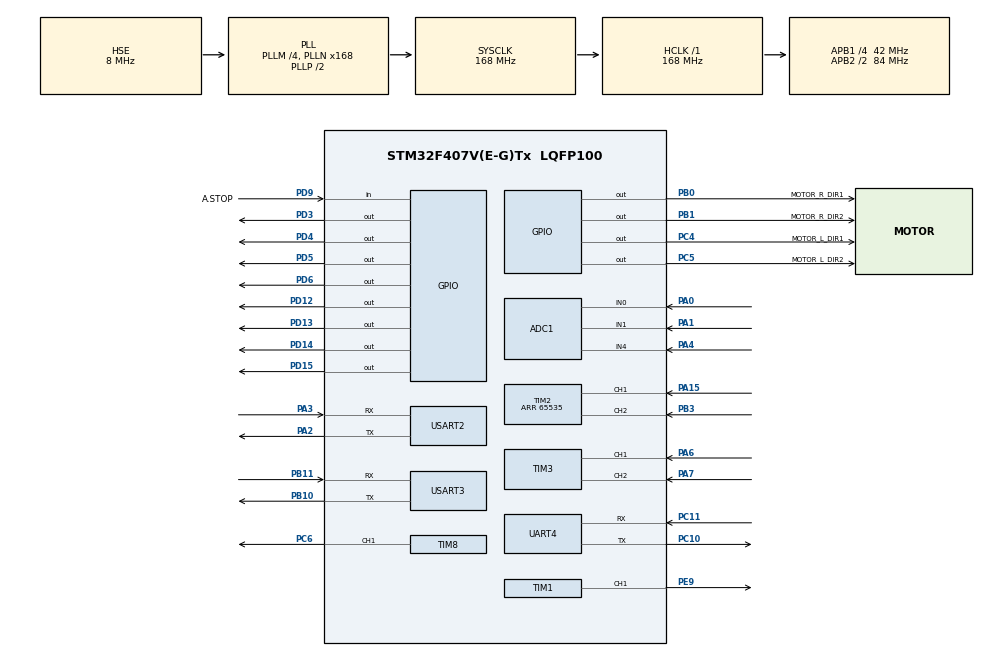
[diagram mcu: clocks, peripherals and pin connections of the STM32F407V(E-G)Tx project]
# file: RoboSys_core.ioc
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ADC1.Channel-6\#ChannelRegularConversion=ADC_CHANNEL_0
ADC1.Channel-7\#ChannelRegularConversion=ADC_CHANNEL_1
ADC1.Channel-8\#ChannelRegularConversion=ADC_CHANNEL_4
ADC1.ContinuousConvMode=DISABLE
ADC1.DMAContinuousRequests=ENABLE
ADC1.NbrOfConversion=3
ADC1.NbrOfConversionFlag=1
ADC1.Rank-6\#ChannelRegularConversion=1
ADC1.Rank-7\#ChannelRegularConversion=2
ADC1.Rank-8\#ChannelRegularConversion=3
ADC1.SamplingTime-6\#ChannelRegularConversion=ADC_SAMPLETIME_480CYCLES
ADC1.SamplingTime-7\#ChannelRegularConversion=ADC_SAMPLETIME_480CYCLES
ADC1.SamplingTime-8\#ChannelRegularConversion=ADC_SAMPLETIME_480CYCLES
ADC1.ScanConvMode=ENABLE
ADC1.master=1
Dma.ADC1.6.Direction=DMA_PERIPH_TO_MEMORY
Dma.ADC1.6.FIFOMode=DMA_FIFOMODE_DISABLE
Dma.ADC1.6.Instance=DMA2_Stream0
Dma.ADC1.6.MemDataAlignment=DMA_MDATAALIGN_HALFWORD
Dma.ADC1.6.MemInc=DMA_MINC_ENABLE
Dma.ADC1.6.Mode=DMA_CIRCULAR
Dma.ADC1.6.PeriphDataAlignment=DMA_PDATAALIGN_HALFWORD
Dma.ADC1.6.PeriphInc=DMA_PINC_DISABLE
Dma.ADC1.6.Priority=DMA_PRIORITY_MEDIUM
Dma.Request0=USART2_RX
Dma.Request1=USART2_TX
Dma.Request2=UART4_RX
Dma.Request3=UART4_TX
Dma.Request4=USART3_RX
Dma.Request5=USART3_TX
Dma.Request6=ADC1
Dma.UART4_RX.2.Direction=DMA_PERIPH_TO_MEMORY
Dma.UART4_RX.2.FIFOMode=DMA_FIFOMODE_DISABLE
Dma.UART4_RX.2.Instance=DMA1_Stream2
Dma.UART4_RX.2.MemDataAlignment=DMA_MDATAALIGN_BYTE
Dma.UART4_RX.2.MemInc=DMA_MINC_ENABLE
Dma.UART4_RX.2.Mode=DMA_CIRCULAR
Dma.UART4_RX.2.PeriphDataAlignment=DMA_PDATAALIGN_BYTE
Dma.UART4_RX.2.PeriphInc=DMA_PINC_DISABLE
Dma.UART4_RX.2.Priority=DMA_PRIORITY_HIGH
Dma.UART4_TX.3.Direction=DMA_MEMORY_TO_PERIPH
Dma.UART4_TX.3.FIFOMode=DMA_FIFOMODE_DISABLE
Dma.UART4_TX.3.Instance=DMA1_Stream4
Dma.UART4_TX.3.MemDataAlignment=DMA_MDATAALIGN_BYTE
Dma.UART4_TX.3.MemInc=DMA_MINC_ENABLE
Dma.UART4_TX.3.Mode=DMA_NORMAL
Dma.UART4_TX.3.PeriphDataAlignment=DMA_PDATAALIGN_BYTE
Dma.UART4_TX.3.PeriphInc=DMA_PINC_DISABLE
Dma.UART4_TX.3.Priority=DMA_PRIORITY_MEDIUM
Dma.USART2_RX.0.Direction=DMA_PERIPH_TO_MEMORY
Dma.USART2_RX.0.FIFOMode=DMA_FIFOMODE_DISABLE
Dma.USART2_RX.0.Instance=DMA1_Stream5
Dma.USART2_RX.0.MemDataAlignment=DMA_MDATAALIGN_BYTE
Dma.USART2_RX.0.MemInc=DMA_MINC_ENABLE
Dma.USART2_RX.0.Mode=DMA_CIRCULAR
Dma.USART2_RX.0.PeriphDataAlignment=DMA_PDATAALIGN_BYTE
Dma.USART2_RX.0.PeriphInc=DMA_PINC_DISABLE
Dma.USART2_RX.0.Priority=DMA_PRIORITY_HIGH
Dma.USART2_TX.1.Direction=DMA_MEMORY_TO_PERIPH
Dma.USART2_TX.1.FIFOMode=DMA_FIFOMODE_DISABLE
Dma.USART2_TX.1.Instance=DMA1_Stream6
Dma.USART2_TX.1.MemDataAlignment=DMA_MDATAALIGN_BYTE
Dma.USART2_TX.1.MemInc=DMA_MINC_ENABLE
Dma.USART2_TX.1.Mode=DMA_NORMAL
Dma.USART2_TX.1.PeriphDataAlignment=DMA_PDATAALIGN_BYTE
Dma.USART2_TX.1.PeriphInc=DMA_PINC_DISABLE
Dma.USART2_TX.1.Priority=DMA_PRIORITY_MEDIUM
Dma.USART3_RX.4.Direction=DMA_PERIPH_TO_MEMORY
Dma.USART3_RX.4.FIFOMode=DMA_FIFOMODE_DISABLE
Dma.USART3_RX.4.Instance=DMA1_Stream1
Dma.USART3_RX.4.MemDataAlignment=DMA_MDATAALIGN_BYTE
Dma.USART3_RX.4.MemInc=DMA_MINC_ENABLE
Dma.USART3_RX.4.Mode=DMA_CIRCULAR
Dma.USART3_RX.4.PeriphDataAlignment=DMA_PDATAALIGN_BYTE
Dma.USART3_RX.4.PeriphInc=DMA_PINC_DISABLE
Dma.USART3_RX.4.Priority=DMA_PRIORITY_HIGH
Dma.USART3_TX.5.Direction=DMA_MEMORY_TO_PERIPH
Dma.USART3_TX.5.FIFOMode=DMA_FIFOMODE_DISABLE
Dma.USART3_TX.5.Instance=DMA1_Stream3
Dma.USART3_TX.5.MemDataAlignment=DMA_MDATAALIGN_BYTE
Dma.USART3_TX.5.MemInc=DMA_MINC_ENABLE
Dma.USART3_TX.5.Mode=DMA_NORMAL
Dma.USART3_TX.5.PeriphDataAlignment=DMA_PDATAALIGN_BYTE
Dma.USART3_TX.5.PeriphInc=DMA_PINC_DISABLE
Dma.USART3_TX.5.Priority=DMA_PRIORITY_MEDIUM
Mcu.Family=STM32F4
Mcu.Name=STM32F407V(E-G)Tx
Mcu.Package=LQFP100
NVIC.DMA1_Stream1_IRQn=true\:0\:0\:false\:false\:true\:false\:true\:true
NVIC.DMA1_Stream2_IRQn=true\:0\:0\:false\:false\:true\:false\:true\:true
NVIC.DMA1_Stream3_IRQn=true\:0\:0\:false\:false\:true\:false\:true\:true
NVIC.DMA1_Stream4_IRQn=true\:0\:0\:false\:false\:true\:false\:true\:true
NVIC.DMA1_Stream5_IRQn=true\:0\:0\:false\:false\:true\:false\:true\:true
NVIC.DMA1_Stream6_IRQn=true\:0\:0\:false\:false\:true\:false\:true\:true
NVIC.DMA2_Stream0_IRQn=true\:0\:0\:false\:false\:true\:false\:true\:true
NVIC.PriorityGroup=NVIC_PRIORITYGROUP_0
NVIC.TIM6_DAC_IRQn=true\:0\:0\:false\:false\:true\:true\:true\:true
NVIC.UART4_IRQn=true\:0\:0\:false\:false\:true\:true\:true\:true
NVIC.USART2_IRQn=true\:0\:0\:false\:false\:true\:true\:true\:true
NVIC.USART3_IRQn=true\:0\:0\:false\:false\:true\:true\:true\:true
PA0-WKUP.Signal=ADCx_IN0
PA1.Signal=ADCx_IN1
PA15.GPIO_PuPd=GPIO_PULLUP
PA15.Signal=S_TIM2_CH1_ETR
PA2.Mode=Asynchronous
PA2.Signal=USART2_TX
PA3.Mode=Asynchronous
PA3.Signal=USART2_RX
PA4.Signal=ADCx_IN4
PA6.GPIO_PuPd=GPIO_PULLUP
PA6.Signal=S_TIM3_CH1
PA7.GPIO_PuPd=GPIO_PULLUP
PA7.Signal=S_TIM3_CH2
PB0.GPIO_Label=MOTOR_R_DIR1
PB0.GPIO_ModeDefaultOutputPP=GPIO_MODE_OUTPUT_OD
PB0.GPIO_PuPd=GPIO_PULLUP
PB0.Signal=GPIO_Output
PB1.GPIO_Label=MOTOR_R_DIR2
PB1.GPIO_ModeDefaultOutputPP=GPIO_MODE_OUTPUT_OD
PB1.GPIO_PuPd=GPIO_PULLUP
PB1.Signal=GPIO_Output
PB10.Mode=Asynchronous
PB10.Signal=USART3_TX
PB11.Mode=Asynchronous
PB11.Signal=USART3_RX
PB3.GPIO_PuPd=GPIO_PULLUP
PB3.Signal=S_TIM2_CH2
PC10.Mode=Asynchronous
PC10.Signal=UART4_TX
PC11.Mode=Asynchronous
PC11.Signal=UART4_RX
PC4.GPIO_Label=MOTOR_L_DIR1
PC4.GPIO_ModeDefaultOutputPP=GPIO_MODE_OUTPUT_OD
PC4.GPIO_PuPd=GPIO_PULLUP
PC4.Signal=GPIO_Output
PC5.GPIO_Label=MOTOR_L_DIR2
PC5.GPIO_ModeDefaultOutputPP=GPIO_MODE_OUTPUT_OD
PC5.GPIO_PuPd=GPIO_PULLUP
PC5.Signal=GPIO_Output
PC6.Signal=S_TIM8_CH1
PD12.GPIO_PuPd=GPIO_NOPULL
PD12.Signal=GPIO_Output
PD13.Signal=GPIO_Output
PD14.GPIO_PuPd=GPIO_NOPULL
PD14.Signal=GPIO_Output
PD15.GPIO_PuPd=GPIO_NOPULL
PD15.Signal=GPIO_Output
PD3.Signal=GPIO_Output
PD4.Signal=GPIO_Output
PD5.Signal=GPIO_Output
PD6.Signal=GPIO_Output
PD9.GPIO_Label=A.STOP
PD9.GPIO_PuPd=GPIO_PULLDOWN
PD9.Signal=GPIO_Input
PE9.Signal=S_TIM1_CH1
PH0-OSC_IN.Mode=HSE-External-Oscillator
PH0-OSC_IN.Signal=RCC_OSC_IN
PH1-OSC_OUT.Mode=HSE-External-Oscillator
PH1-OSC_OUT.Signal=RCC_OSC_OUT
ProjectManager.HeapSize=0x200
ProjectManager.StackSize=0x400
ProjectManager.TargetToolchain=STM32CubeIDE
RCC.48MHZClocksFreq_Value=48000000
RCC.AHBFreq_Value=168000000
RCC.APB1CLKDivider=RCC_HCLK_DIV4
RCC.APB1Freq_Value=42000000
RCC.APB1TimFreq_Value=84000000
RCC.APB2CLKDivider=RCC_HCLK_DIV2
RCC.APB2Freq_Value=84000000
RCC.APB2TimFreq_Value=168000000
RCC.CortexFreq_Value=168000000
RCC.HCLKFreq_Value=168000000
RCC.HSE_VALUE=8000000
RCC.HSI_VALUE=16000000
RCC.LSE_VALUE=32768
RCC.PLLM=4
RCC.PLLN=168
RCC.PLLQ=7
RCC.PLLSourceVirtual=RCC_PLLSOURCE_HSE
RCC.SYSCLKFreq_VALUE=168000000
RCC.SYSCLKSource=RCC_SYSCLKSOURCE_PLLCLK
RCC.VCOOutputFreq_Value=336000000
SH.ADCx_IN0.0=ADC1_IN0,IN0
SH.ADCx_IN1.0=ADC1_IN1,IN1
SH.ADCx_IN4.0=ADC1_IN4,IN4
SH.S_TIM1_CH1.0=TIM1_CH1,PWM Generation1 CH1
SH.S_TIM2_CH1_ETR.0=TIM2_CH1,Encoder_Interface
SH.S_TIM2_CH2.0=TIM2_CH2,Encoder_Interface
SH.S_TIM3_CH1.0=TIM3_CH1,Encoder_Interface
SH.S_TIM3_CH2.0=TIM3_CH2,Encoder_Interface
SH.S_TIM8_CH1.0=TIM8_CH1,PWM Generation1 CH1
TIM1.Channel-PWM\ Generation1\ CH1=TIM_CHANNEL_1
TIM1.Period=10499
TIM1.Prescaler=0
TIM2.EncoderMode=TIM_ENCODERMODE_TI12
TIM2.IC1Filter=0
TIM2.IC1Polarity=TIM_ICPOLARITY_FALLING
TIM2.IC2Filter=2
TIM2.IC2Polarity=TIM_ICPOLARITY_FALLING
TIM2.Period=65535
TIM3.EncoderMode=TIM_ENCODERMODE_TI12
TIM6.Period=99
TIM6.Prescaler=8399
TIM6.TIM_MasterOutputTrigger=TIM_TRGO_UPDATE
TIM8.Channel-PWM\ Generation1\ CH1=TIM_CHANNEL_1
TIM8.Period=10499
UART4.VirtualMode=Asynchronous
USART2.VirtualMode=VM_ASYNC
USART3.VirtualMode=VM_ASYNC
VP_TIM1_VS_ClockSourceINT.Mode=Internal
VP_TIM6_VS_ClockSourceINT.Mode=Enable_Timer
VP_TIM8_VS_ClockSourceINT.Mode=Internal
board=STM32F407G-DISC1

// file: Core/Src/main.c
/* USER CODE BEGIN Header */
/**
  ******************************************************************************
  * @file           : main.c
  * @brief          : Main program body
  ******************************************************************************
  * @attention
  *
  * Copyright (c) 2025 STMicroelectronics.
  * All rights reserved.
  *
  * This software is licensed under terms that can be found in the LICENSE file
  * in the root directory of this software component.
  * If no LICENSE file comes with this software, it is provided AS-IS.
  *
  ******************************************************************************
  */
/* USER CODE END Header */
#include "main.h"

/* USER CODE BEGIN Includes */
#include "relay.h"
#include "motor.h"
#include "stdlib.h"
#include "string.h"
#include "stdio.h"
#include <UartComm.h>

/* USER CODE END Includes */

/* USER CODE BEGIN PD */
#define PPR 1600
#define PI 3.1415926
#define buffSize 10
#define trimSize 3

/* USER CODE END PD */

ADC_HandleTypeDef hadc1;
DMA_HandleTypeDef hdma_adc1;

TIM_HandleTypeDef htim1;
TIM_HandleTypeDef htim2;
TIM_HandleTypeDef htim3;
TIM_HandleTypeDef htim6;
TIM_HandleTypeDef htim8;

UART_HandleTypeDef huart4;
UART_HandleTypeDef huart2;
UART_HandleTypeDef huart3;
DMA_HandleTypeDef hdma_uart4_rx;
DMA_HandleTypeDef hdma_uart4_tx;
DMA_HandleTypeDef hdma_usart2_rx;
DMA_HandleTypeDef hdma_usart2_tx;
DMA_HandleTypeDef hdma_usart3_rx;
DMA_HandleTypeDef hdma_usart3_tx;

/* USER CODE BEGIN PV */

// ****** TIM2 -> Left encoder, TIM3-> right encoder, TIM6-> 10MS timer
// ****** HER 10ms de encoder okuması yapılır.
// ************* ENCODER DEĞİŞKENLERİ ***************
volatile uint16_t enc_new_L;
volatile uint16_t old_cnt_L = 0;

volatile uint16_t enc_new_R;
volatile uint16_t old_cnt_R = 0;

volatile int16_t dL = 0;
volatile int16_t dR = 0;

volatile float wL=0;
volatile float wR=0;
// *************** MOTOR DEĞİŞKENLERİ*********************
Motor_t motor_L , motor_R;
Motor_Status_t mL_status, mR_status;

uint16_t ramp_time_ms = 1000;
volatile float motor_r_duty= 0; // 0-1 mi 0-1000 mi
volatile float motor_l_duty= 0;
// *******************UART DEĞİŞKENLERİ*******************

uint32_t last_telemetry_time = 0;
volatile UartComm_t uart2_ros;
volatile UartComm_t uart3_relay;
volatile UartComm_t uart4_adc;

uint8_t cmd_index = 0;

// ADC DEĞİŞKENLERİ

volatile uint16_t adc_raw[3];

static uint16_t ma_buffer_ch0[buffSize];
static uint16_t ma_buffer_ch1[buffSize];
static uint16_t ma_buffer_ch4[buffSize];
static float cleanVal_ch0=0;
static float cleanVal_ch1=0;
static float cleanVal_ch4=0;
volatile uint8_t adc_idx = 0;
uint16_t meanVal = 0;
uint16_t sum = 0;
float A_per_mv = 0.0125;
float A0 = 0;
float A1 = 0;
float A2 = 0;
/* USER CODE END PV */

void SystemClock_Config(void);
static void MX_GPIO_Init(void);
static void MX_DMA_Init(void);
static void MX_TIM2_Init(void);
static void MX_TIM6_Init(void);
static void MX_TIM3_Init(void);
static void MX_TIM1_Init(void);
static void MX_TIM8_Init(void);
static void MX_USART2_UART_Init(void);
static void MX_UART4_Init(void);
static void MX_USART3_UART_Init(void);
static void MX_ADC1_Init(void);
/* USER CODE BEGIN PFP */
void Motor_ParseCommands(char *cmd);
void Uart_SendEncoder(void);
void Uart_SendAnalog(void);
void uart_send_string(UART_HandleTypeDef *huart, const char* str);
uint16_t trimmed_mean_filter(volatile uint16_t *adcBuffer);

/* USER CODE END PFP */

int main(void)
{

  /* MCU Configuration--------------------------------------------------------*/

  /* Reset of all peripherals, Initializes the Flash interface and the Systick. */
  HAL_Init();

  /* Configure the system clock */
  SystemClock_Config();

  /* Initialize all configured peripherals */
  MX_GPIO_Init();
  MX_DMA_Init();
  MX_TIM2_Init();
  MX_TIM6_Init();
  MX_TIM3_Init();
  MX_TIM1_Init();
  MX_TIM8_Init();
  MX_USART2_UART_Init();
  MX_UART4_Init();
  MX_USART3_UART_Init();
  MX_ADC1_Init();
  /* USER CODE BEGIN 2 */

Motor_Init(&motor_R, &htim1, TIM_CHANNEL_1, GPIOC, GPIO_PIN_0, GPIO_PIN_1);
Motor_Init(&motor_L, &htim8, TIM_CHANNEL_1, GPIOB, GPIO_PIN_4, GPIO_PIN_5);
Relay_Init();

Uart_Init(&uart2_ros, &huart2, &hdma_usart2_rx);
Uart_Init(&uart3_relay, &huart3, &hdma_usart3_rx);
Uart_Init(&uart4_adc, &huart4, &hdma_uart4_rx);

HAL_ADC_Start_DMA(&hadc1, (uint32_t*)adc_raw, 3);

Motor_Start(&motor_R);
Motor_Start(&motor_L);

HAL_TIM_Encoder_Start(&htim2, TIM_CHANNEL_ALL);
HAL_TIM_Encoder_Start(&htim3, TIM_CHANNEL_ALL);
HAL_TIM_Base_Start_IT(&htim6);

  /* USER CODE END 2 */

  /* Infinite loop */
  while (1)
  {

    /* USER CODE BEGIN 3 */
	  // UART2 Motor komutlarını gönderiyor
	  if(uart2_ros.rx_ready)
	  {
		  uart2_ros.rx_ready = 0;
		  Uart_TrimRxBuffer(&uart2_ros);
		  Motor_ParseCommands((char*)uart2_ros.rx_buff);
		  Uart_ResetRxBuffer(&uart2_ros);
	  }
	  // UART3 RÖLE komutları gönderiyor
	  if (uart3_relay.rx_ready)
	  {
	      uart3_relay.rx_ready = 0;
	      Uart_TrimRxBuffer(&uart3_relay);
	      Relay_ProcessCommand(uart3_relay.rx_buff);
	      Uart_ResetRxBuffer(&uart3_relay);
	  }
	  // UART4 ADC verileri gönderiyor
	  if (uart4_adc.tx_ready)
	  {
		  cleanVal_ch0 = 2.944*(trimmed_mean_filter(ma_buffer_ch0))/4095.0; // AKÜ AKIM
  		  cleanVal_ch1 = 2.944*(trimmed_mean_filter(ma_buffer_ch1))/4095.0; // ŞARJ AKIM
  		  cleanVal_ch4 = trimmed_mean_filter(ma_buffer_ch4); 				// AKÜ VOLTAJ

  		  A0 = (cleanVal_ch0-2.5)/A_per_mv;
  		  A1 = (cleanVal_ch1-2.5)/A_per_mv;
  		  A2 = cleanVal_ch4*3.3/4095.0;
	  	  Uart_SendAnalog();
	  	  uart4_adc.tx_ready = 0;
  	 }

	  if ((HAL_GetTick() - last_telemetry_time)>=10)
	  {
		  last_telemetry_time = HAL_GetTick();
		  Uart_SendEncoder();
	  }

  }
  /* USER CODE END 3 */
}

void SystemClock_Config(void)
{
  RCC_OscInitTypeDef RCC_OscInitStruct = {0};
  RCC_ClkInitTypeDef RCC_ClkInitStruct = {0};

  /** Configure the main internal regulator output voltage
  */
  __HAL_RCC_PWR_CLK_ENABLE();
  __HAL_PWR_VOLTAGESCALING_CONFIG(PWR_REGULATOR_VOLTAGE_SCALE1);

  /** Initializes the RCC Oscillators according to the specified parameters
  * in the RCC_OscInitTypeDef structure.
  */
  RCC_OscInitStruct.OscillatorType = RCC_OSCILLATORTYPE_HSE;
  RCC_OscInitStruct.HSEState = RCC_HSE_ON;
  RCC_OscInitStruct.PLL.PLLState = RCC_PLL_ON;
  RCC_OscInitStruct.PLL.PLLSource = RCC_PLLSOURCE_HSE;
  RCC_OscInitStruct.PLL.PLLM = 4;
  RCC_OscInitStruct.PLL.PLLN = 168;
  RCC_OscInitStruct.PLL.PLLP = RCC_PLLP_DIV2;
  RCC_OscInitStruct.PLL.PLLQ = 7;
  if (HAL_RCC_OscConfig(&RCC_OscInitStruct) != HAL_OK)
  {
    Error_Handler();
  }

  /** Initializes the CPU, AHB and APB buses clocks
  */
  RCC_ClkInitStruct.ClockType = RCC_CLOCKTYPE_HCLK|RCC_CLOCKTYPE_SYSCLK
                              |RCC_CLOCKTYPE_PCLK1|RCC_CLOCKTYPE_PCLK2;
  RCC_ClkInitStruct.SYSCLKSource = RCC_SYSCLKSOURCE_PLLCLK;
  RCC_ClkInitStruct.AHBCLKDivider = RCC_SYSCLK_DIV1;
  RCC_ClkInitStruct.APB1CLKDivider = RCC_HCLK_DIV4;
  RCC_ClkInitStruct.APB2CLKDivider = RCC_HCLK_DIV2;

  if (HAL_RCC_ClockConfig(&RCC_ClkInitStruct, FLASH_LATENCY_5) != HAL_OK)
  {
    Error_Handler();
  }
}

static void MX_ADC1_Init(void)
{

  ADC_ChannelConfTypeDef sConfig = {0};

  /** Configure the global features of the ADC (Clock, Resolution, Data Alignment and number of conversion)
  */
  hadc1.Instance = ADC1;
  hadc1.Init.ClockPrescaler = ADC_CLOCK_SYNC_PCLK_DIV4;
  hadc1.Init.Resolution = ADC_RESOLUTION_12B;
  hadc1.Init.ScanConvMode = ENABLE;
  hadc1.Init.ContinuousConvMode = DISABLE;
  hadc1.Init.DiscontinuousConvMode = DISABLE;
  hadc1.Init.ExternalTrigConvEdge = ADC_EXTERNALTRIGCONVEDGE_NONE;
  hadc1.Init.ExternalTrigConv = ADC_SOFTWARE_START;
  hadc1.Init.DataAlign = ADC_DATAALIGN_RIGHT;
  hadc1.Init.NbrOfConversion = 3;
  hadc1.Init.DMAContinuousRequests = ENABLE;
  hadc1.Init.EOCSelection = ADC_EOC_SINGLE_CONV;
  if (HAL_ADC_Init(&hadc1) != HAL_OK)
  {
    Error_Handler();
  }

  /** Configure for the selected ADC regular channel its corresponding rank in the sequencer and its sample time.
  */
  sConfig.Channel = ADC_CHANNEL_0;
  sConfig.Rank = 1;
  sConfig.SamplingTime = ADC_SAMPLETIME_480CYCLES;
  if (HAL_ADC_ConfigChannel(&hadc1, &sConfig) != HAL_OK)
  {
    Error_Handler();
  }

  /** Configure for the selected ADC regular channel its corresponding rank in the sequencer and its sample time.
  */
  sConfig.Channel = ADC_CHANNEL_1;
  sConfig.Rank = 2;
  if (HAL_ADC_ConfigChannel(&hadc1, &sConfig) != HAL_OK)
  {
    Error_Handler();
  }

  /** Configure for the selected ADC regular channel its corresponding rank in the sequencer and its sample time.
  */
  sConfig.Channel = ADC_CHANNEL_4;
  sConfig.Rank = 3;
  if (HAL_ADC_ConfigChannel(&hadc1, &sConfig) != HAL_OK)
  {
    Error_Handler();
  }

}

static void MX_TIM1_Init(void)
{

  TIM_ClockConfigTypeDef sClockSourceConfig = {0};
  TIM_MasterConfigTypeDef sMasterConfig = {0};
  TIM_OC_InitTypeDef sConfigOC = {0};
  TIM_BreakDeadTimeConfigTypeDef sBreakDeadTimeConfig = {0};

  htim1.Instance = TIM1;
  htim1.Init.Prescaler = 0;
  htim1.Init.CounterMode = TIM_COUNTERMODE_UP;
  htim1.Init.Period = 10499;
  htim1.Init.ClockDivision = TIM_CLOCKDIVISION_DIV1;
  htim1.Init.RepetitionCounter = 0;
  htim1.Init.AutoReloadPreload = TIM_AUTORELOAD_PRELOAD_DISABLE;
  if (HAL_TIM_Base_Init(&htim1) != HAL_OK)
  {
    Error_Handler();
  }
  sClockSourceConfig.ClockSource = TIM_CLOCKSOURCE_INTERNAL;
  if (HAL_TIM_ConfigClockSource(&htim1, &sClockSourceConfig) != HAL_OK)
  {
    Error_Handler();
  }
  if (HAL_TIM_PWM_Init(&htim1) != HAL_OK)
  {
    Error_Handler();
  }
  sMasterConfig.MasterOutputTrigger = TIM_TRGO_RESET;
  sMasterConfig.MasterSlaveMode = TIM_MASTERSLAVEMODE_DISABLE;
  if (HAL_TIMEx_MasterConfigSynchronization(&htim1, &sMasterConfig) != HAL_OK)
  {
    Error_Handler();
  }
  sConfigOC.OCMode = TIM_OCMODE_PWM1;
  sConfigOC.Pulse = 0;
  sConfigOC.OCPolarity = TIM_OCPOLARITY_HIGH;
  sConfigOC.OCNPolarity = TIM_OCNPOLARITY_HIGH;
  sConfigOC.OCFastMode = TIM_OCFAST_DISABLE;
  sConfigOC.OCIdleState = TIM_OCIDLESTATE_RESET;
  sConfigOC.OCNIdleState = TIM_OCNIDLESTATE_RESET;
  if (HAL_TIM_PWM_ConfigChannel(&htim1, &sConfigOC, TIM_CHANNEL_1) != HAL_OK)
  {
    Error_Handler();
  }
  sBreakDeadTimeConfig.OffStateRunMode = TIM_OSSR_DISABLE;
  sBreakDeadTimeConfig.OffStateIDLEMode = TIM_OSSI_DISABLE;
  sBreakDeadTimeConfig.LockLevel = TIM_LOCKLEVEL_OFF;
  sBreakDeadTimeConfig.DeadTime = 0;
  sBreakDeadTimeConfig.BreakState = TIM_BREAK_DISABLE;
  sBreakDeadTimeConfig.BreakPolarity = TIM_BREAKPOLARITY_HIGH;
  sBreakDeadTimeConfig.AutomaticOutput = TIM_AUTOMATICOUTPUT_DISABLE;
  if (HAL_TIMEx_ConfigBreakDeadTime(&htim1, &sBreakDeadTimeConfig) != HAL_OK)
  {
    Error_Handler();
  }
  HAL_TIM_MspPostInit(&htim1);

}

static void MX_TIM2_Init(void)
{

  TIM_Encoder_InitTypeDef sConfig = {0};
  TIM_MasterConfigTypeDef sMasterConfig = {0};

  htim2.Instance = TIM2;
  htim2.Init.Prescaler = 0;
  htim2.Init.CounterMode = TIM_COUNTERMODE_UP;
  htim2.Init.Period = 65535;
  htim2.Init.ClockDivision = TIM_CLOCKDIVISION_DIV1;
  htim2.Init.AutoReloadPreload = TIM_AUTORELOAD_PRELOAD_DISABLE;
  sConfig.EncoderMode = TIM_ENCODERMODE_TI12;
  sConfig.IC1Polarity = TIM_ICPOLARITY_FALLING;
  sConfig.IC1Selection = TIM_ICSELECTION_DIRECTTI;
  sConfig.IC1Prescaler = TIM_ICPSC_DIV1;
  sConfig.IC1Filter = 0;
  sConfig.IC2Polarity = TIM_ICPOLARITY_FALLING;
  sConfig.IC2Selection = TIM_ICSELECTION_DIRECTTI;
  sConfig.IC2Prescaler = TIM_ICPSC_DIV1;
  sConfig.IC2Filter = 2;
  if (HAL_TIM_Encoder_Init(&htim2, &sConfig) != HAL_OK)
  {
    Error_Handler();
  }
  sMasterConfig.MasterOutputTrigger = TIM_TRGO_RESET;
  sMasterConfig.MasterSlaveMode = TIM_MASTERSLAVEMODE_DISABLE;
  if (HAL_TIMEx_MasterConfigSynchronization(&htim2, &sMasterConfig) != HAL_OK)
  {
    Error_Handler();
  }

}

static void MX_TIM3_Init(void)
{

  TIM_Encoder_InitTypeDef sConfig = {0};
  TIM_MasterConfigTypeDef sMasterConfig = {0};

  htim3.Instance = TIM3;
  htim3.Init.Prescaler = 0;
  htim3.Init.CounterMode = TIM_COUNTERMODE_UP;
  htim3.Init.Period = 65535;
  htim3.Init.ClockDivision = TIM_CLOCKDIVISION_DIV1;
  htim3.Init.AutoReloadPreload = TIM_AUTORELOAD_PRELOAD_DISABLE;
  sConfig.EncoderMode = TIM_ENCODERMODE_TI12;
  sConfig.IC1Polarity = TIM_ICPOLARITY_RISING;
  sConfig.IC1Selection = TIM_ICSELECTION_DIRECTTI;
  sConfig.IC1Prescaler = TIM_ICPSC_DIV1;
  sConfig.IC1Filter = 0;
  sConfig.IC2Polarity = TIM_ICPOLARITY_RISING;
  sConfig.IC2Selection = TIM_ICSELECTION_DIRECTTI;
  sConfig.IC2Prescaler = TIM_ICPSC_DIV1;
  sConfig.IC2Filter = 0;
  if (HAL_TIM_Encoder_Init(&htim3, &sConfig) != HAL_OK)
  {
    Error_Handler();
  }
  sMasterConfig.MasterOutputTrigger = TIM_TRGO_RESET;
  sMasterConfig.MasterSlaveMode = TIM_MASTERSLAVEMODE_DISABLE;
  if (HAL_TIMEx_MasterConfigSynchronization(&htim3, &sMasterConfig) != HAL_OK)
  {
    Error_Handler();
  }

}

static void MX_TIM6_Init(void)
{

  TIM_MasterConfigTypeDef sMasterConfig = {0};

  htim6.Instance = TIM6;
  htim6.Init.Prescaler = 8399;
  htim6.Init.CounterMode = TIM_COUNTERMODE_UP;
  htim6.Init.Period = 99;
  htim6.Init.AutoReloadPreload = TIM_AUTORELOAD_PRELOAD_DISABLE;
  if (HAL_TIM_Base_Init(&htim6) != HAL_OK)
  {
    Error_Handler();
  }
  sMasterConfig.MasterOutputTrigger = TIM_TRGO_UPDATE;
  sMasterConfig.MasterSlaveMode = TIM_MASTERSLAVEMODE_DISABLE;
  if (HAL_TIMEx_MasterConfigSynchronization(&htim6, &sMasterConfig) != HAL_OK)
  {
    Error_Handler();
  }

}

static void MX_TIM8_Init(void)
{

  TIM_ClockConfigTypeDef sClockSourceConfig = {0};
  TIM_MasterConfigTypeDef sMasterConfig = {0};
  TIM_OC_InitTypeDef sConfigOC = {0};
  TIM_BreakDeadTimeConfigTypeDef sBreakDeadTimeConfig = {0};

  htim8.Instance = TIM8;
  htim8.Init.Prescaler = 0;
  htim8.Init.CounterMode = TIM_COUNTERMODE_UP;
  htim8.Init.Period = 10499;
  htim8.Init.ClockDivision = TIM_CLOCKDIVISION_DIV1;
  htim8.Init.RepetitionCounter = 0;
  htim8.Init.AutoReloadPreload = TIM_AUTORELOAD_PRELOAD_DISABLE;
  if (HAL_TIM_Base_Init(&htim8) != HAL_OK)
  {
    Error_Handler();
  }
  sClockSourceConfig.ClockSource = TIM_CLOCKSOURCE_INTERNAL;
  if (HAL_TIM_ConfigClockSource(&htim8, &sClockSourceConfig) != HAL_OK)
  {
    Error_Handler();
  }
  if (HAL_TIM_PWM_Init(&htim8) != HAL_OK)
  {
    Error_Handler();
  }
  sMasterConfig.MasterOutputTrigger = TIM_TRGO_RESET;
  sMasterConfig.MasterSlaveMode = TIM_MASTERSLAVEMODE_DISABLE;
  if (HAL_TIMEx_MasterConfigSynchronization(&htim8, &sMasterConfig) != HAL_OK)
  {
    Error_Handler();
  }
  sConfigOC.OCMode = TIM_OCMODE_PWM1;
  sConfigOC.Pulse = 0;
  sConfigOC.OCPolarity = TIM_OCPOLARITY_HIGH;
  sConfigOC.OCNPolarity = TIM_OCNPOLARITY_HIGH;
  sConfigOC.OCFastMode = TIM_OCFAST_DISABLE;
  sConfigOC.OCIdleState = TIM_OCIDLESTATE_RESET;
  sConfigOC.OCNIdleState = TIM_OCNIDLESTATE_RESET;
  if (HAL_TIM_PWM_ConfigChannel(&htim8, &sConfigOC, TIM_CHANNEL_1) != HAL_OK)
  {
    Error_Handler();
  }
  sBreakDeadTimeConfig.OffStateRunMode = TIM_OSSR_DISABLE;
  sBreakDeadTimeConfig.OffStateIDLEMode = TIM_OSSI_DISABLE;
  sBreakDeadTimeConfig.LockLevel = TIM_LOCKLEVEL_OFF;
  sBreakDeadTimeConfig.DeadTime = 0;
  sBreakDeadTimeConfig.BreakState = TIM_BREAK_DISABLE;
  sBreakDeadTimeConfig.BreakPolarity = TIM_BREAKPOLARITY_HIGH;
  sBreakDeadTimeConfig.AutomaticOutput = TIM_AUTOMATICOUTPUT_DISABLE;
  if (HAL_TIMEx_ConfigBreakDeadTime(&htim8, &sBreakDeadTimeConfig) != HAL_OK)
  {
    Error_Handler();
  }
  HAL_TIM_MspPostInit(&htim8);

}

static void MX_UART4_Init(void)
{

  huart4.Instance = UART4;
  huart4.Init.BaudRate = 115200;
  huart4.Init.WordLength = UART_WORDLENGTH_8B;
  huart4.Init.StopBits = UART_STOPBITS_1;
  huart4.Init.Parity = UART_PARITY_NONE;
  huart4.Init.Mode = UART_MODE_TX_RX;
  huart4.Init.HwFlowCtl = UART_HWCONTROL_NONE;
  huart4.Init.OverSampling = UART_OVERSAMPLING_16;
  if (HAL_UART_Init(&huart4) != HAL_OK)
  {
    Error_Handler();
  }

}

static void MX_USART2_UART_Init(void)
{

  huart2.Instance = USART2;
  huart2.Init.BaudRate = 115200;
  huart2.Init.WordLength = UART_WORDLENGTH_8B;
  huart2.Init.StopBits = UART_STOPBITS_1;
  huart2.Init.Parity = UART_PARITY_NONE;
  huart2.Init.Mode = UART_MODE_TX_RX;
  huart2.Init.HwFlowCtl = UART_HWCONTROL_NONE;
  huart2.Init.OverSampling = UART_OVERSAMPLING_16;
  if (HAL_UART_Init(&huart2) != HAL_OK)
  {
    Error_Handler();
  }

}

static void MX_USART3_UART_Init(void)
{

  huart3.Instance = USART3;
  huart3.Init.BaudRate = 115200;
  huart3.Init.WordLength = UART_WORDLENGTH_8B;
  huart3.Init.StopBits = UART_STOPBITS_1;
  huart3.Init.Parity = UART_PARITY_NONE;
  huart3.Init.Mode = UART_MODE_TX_RX;
  huart3.Init.HwFlowCtl = UART_HWCONTROL_NONE;
  huart3.Init.OverSampling = UART_OVERSAMPLING_16;
  if (HAL_UART_Init(&huart3) != HAL_OK)
  {
    Error_Handler();
  }

}

static void MX_DMA_Init(void)
{

  /* DMA controller clock enable */
  __HAL_RCC_DMA1_CLK_ENABLE();
  __HAL_RCC_DMA2_CLK_ENABLE();

  /* DMA interrupt init */
  /* DMA1_Stream1_IRQn interrupt configuration */
  HAL_NVIC_SetPriority(DMA1_Stream1_IRQn, 0, 0);
  HAL_NVIC_EnableIRQ(DMA1_Stream1_IRQn);
  /* DMA1_Stream2_IRQn interrupt configuration */
  HAL_NVIC_SetPriority(DMA1_Stream2_IRQn, 0, 0);
  HAL_NVIC_EnableIRQ(DMA1_Stream2_IRQn);
  /* DMA1_Stream3_IRQn interrupt configuration */
  HAL_NVIC_SetPriority(DMA1_Stream3_IRQn, 0, 0);
  HAL_NVIC_EnableIRQ(DMA1_Stream3_IRQn);
  /* DMA1_Stream4_IRQn interrupt configuration */
  HAL_NVIC_SetPriority(DMA1_Stream4_IRQn, 0, 0);
  HAL_NVIC_EnableIRQ(DMA1_Stream4_IRQn);
  /* DMA1_Stream5_IRQn interrupt configuration */
  HAL_NVIC_SetPriority(DMA1_Stream5_IRQn, 0, 0);
  HAL_NVIC_EnableIRQ(DMA1_Stream5_IRQn);
  /* DMA1_Stream6_IRQn interrupt configuration */
  HAL_NVIC_SetPriority(DMA1_Stream6_IRQn, 0, 0);
  HAL_NVIC_EnableIRQ(DMA1_Stream6_IRQn);
  /* DMA2_Stream0_IRQn interrupt configuration */
  HAL_NVIC_SetPriority(DMA2_Stream0_IRQn, 0, 0);
  HAL_NVIC_EnableIRQ(DMA2_Stream0_IRQn);

}

static void MX_GPIO_Init(void)
{
  GPIO_InitTypeDef GPIO_InitStruct = {0};

  /* GPIO Ports Clock Enable */
  __HAL_RCC_GPIOH_CLK_ENABLE();
  __HAL_RCC_GPIOA_CLK_ENABLE();
  __HAL_RCC_GPIOC_CLK_ENABLE();
  __HAL_RCC_GPIOB_CLK_ENABLE();
  __HAL_RCC_GPIOE_CLK_ENABLE();
  __HAL_RCC_GPIOD_CLK_ENABLE();

  /*Configure GPIO pin Output Level */
  HAL_GPIO_WritePin(GPIOC, MOTOR_L_DIR1_Pin|MOTOR_L_DIR2_Pin, GPIO_PIN_RESET);

  /*Configure GPIO pin Output Level */
  HAL_GPIO_WritePin(GPIOB, MOTOR_R_DIR1_Pin|MOTOR_R_DIR2_Pin, GPIO_PIN_RESET);

  /*Configure GPIO pin Output Level */
  HAL_GPIO_WritePin(GPIOD, GPIO_PIN_12|GPIO_PIN_13|GPIO_PIN_14|GPIO_PIN_15
                          |GPIO_PIN_3|GPIO_PIN_4|GPIO_PIN_5|GPIO_PIN_6, GPIO_PIN_RESET);

  /*Configure GPIO pins : MOTOR_L_DIR1_Pin MOTOR_L_DIR2_Pin */
  GPIO_InitStruct.Pin = MOTOR_L_DIR1_Pin|MOTOR_L_DIR2_Pin;
  GPIO_InitStruct.Mode = GPIO_MODE_OUTPUT_OD;
  GPIO_InitStruct.Pull = GPIO_PULLUP;
  GPIO_InitStruct.Speed = GPIO_SPEED_FREQ_LOW;
  HAL_GPIO_Init(GPIOC, &GPIO_InitStruct);

  /*Configure GPIO pins : MOTOR_R_DIR1_Pin MOTOR_R_DIR2_Pin */
  GPIO_InitStruct.Pin = MOTOR_R_DIR1_Pin|MOTOR_R_DIR2_Pin;
  GPIO_InitStruct.Mode = GPIO_MODE_OUTPUT_OD;
  GPIO_InitStruct.Pull = GPIO_PULLUP;
  GPIO_InitStruct.Speed = GPIO_SPEED_FREQ_LOW;
  HAL_GPIO_Init(GPIOB, &GPIO_InitStruct);

  /*Configure GPIO pin : A_STOP_Pin */
  GPIO_InitStruct.Pin = A_STOP_Pin;
  GPIO_InitStruct.Mode = GPIO_MODE_INPUT;
  GPIO_InitStruct.Pull = GPIO_PULLDOWN;
  HAL_GPIO_Init(A_STOP_GPIO_Port, &GPIO_InitStruct);

  /*Configure GPIO pins : PD12 PD13 PD14 PD15
                           PD3 PD4 PD5 PD6 */
  GPIO_InitStruct.Pin = GPIO_PIN_12|GPIO_PIN_13|GPIO_PIN_14|GPIO_PIN_15
                          |GPIO_PIN_3|GPIO_PIN_4|GPIO_PIN_5|GPIO_PIN_6;
  GPIO_InitStruct.Mode = GPIO_MODE_OUTPUT_PP;
  GPIO_InitStruct.Pull = GPIO_NOPULL;
  GPIO_InitStruct.Speed = GPIO_SPEED_FREQ_LOW;
  HAL_GPIO_Init(GPIOD, &GPIO_InitStruct);

}

/* USER CODE BEGIN 4 */
void HAL_TIM_PeriodElapsedCallback(TIM_HandleTypeDef *htim)
{
	if(htim->Instance == TIM6)
	{
		 enc_new_L = (int16_t)__HAL_TIM_GET_COUNTER(&htim2);
		 dL = enc_new_L - old_cnt_L;
		 old_cnt_L = enc_new_L;

		 enc_new_R = (int16_t)__HAL_TIM_GET_COUNTER(&htim3);
		 dR = enc_new_R - old_cnt_R;
		 old_cnt_R = enc_new_R;

		 Motor_UpdateRamp(&motor_R);
		 Motor_UpdateRamp(&motor_L);

		 HAL_ADC_Start_DMA(&hadc1, (uint32_t*)adc_raw, 3);

	}
}

void Motor_ParseCommands(char *cmd)
{
	float mr, ml;

	if (sscanf(cmd, "M_R %f M_L %f", &mr, &ml)==2)
	{
        if (mr > 1.0f) mr = 1.0f;
        if (mr < -1.0f) mr = -1.0f;

        if (ml > 1.0f) ml = 1.0f;
        if (ml < -1.0f) ml = -1.0f;

        motor_r_duty = mr;
        motor_l_duty = ml;

    	Motor_SetDutyWithRamp(&motor_R, motor_r_duty, ramp_time_ms);
    	Motor_SetDutyWithRamp(&motor_L, motor_l_duty, ramp_time_ms);
	}
}

void Uart_SendAnalog(void)
{
    char msg[64];
    snprintf(msg, sizeof(msg), "A0: %.1fA, A1: %.1fA, A2: %.1fV\r\n", A0, A1, A2);
    Uart_SendMsg(&uart4_adc, msg);
}

void Uart_SendEncoder(void)
{
    char msg[48];
    snprintf(msg, sizeof(msg), "dR %d dL %d\r\n", dR, dL);
    Uart_SendMsg(&uart2_ros, msg);
}

void HAL_UART_TxCpltCallback(UART_HandleTypeDef *huart)
{
    if (huart->Instance == USART2)
    {
        uart2_ros.tx_busy = 0;
    }

    if(huart->Instance == USART3)
    {
        uart3_relay.tx_busy = 0;
    }
    if(huart->Instance == UART4)
    {
    	uart4_adc.tx_busy = 0;
    }

}

uint16_t trimmed_mean_filter(volatile uint16_t *adcBuffer){

	uint16_t meanVal = 0;
	uint32_t sum = 0;

	// orjinal Adc Buffer'ın kopyası alınarak işlem yapılır
	uint16_t temp_buff[buffSize];
	for(int i = 0; i<buffSize; i++)
	{
		temp_buff[i] = adcBuffer[i];
	}

	// BUBBLE SORT METODU

	for (int i=0; i <buffSize-1; i++){
		for (int j=0; j<buffSize-i-1; j++){
			if(temp_buff[j] > temp_buff[j+1])
			{
				uint16_t tempVal = temp_buff[j];
				temp_buff[j] = temp_buff[j+1];
				temp_buff[j+1] = tempVal;
			}
		}
	}

	// MAX ve MİN değerlerin 2 tanesi atılır

	for (int k = trimSize; k < buffSize - trimSize; k++){
		sum += temp_buff[k];
	}

	meanVal = sum/(buffSize - (2*trimSize));

	return meanVal;
}

void HAL_ADC_ConvCpltCallback(ADC_HandleTypeDef *hadc)
{
	if (hadc->Instance == ADC1)
	{
		ma_buffer_ch0[adc_idx] = adc_raw[0];
		ma_buffer_ch1[adc_idx] = adc_raw[1];
		ma_buffer_ch4[adc_idx] = adc_raw[2];
		adc_idx++;

		if(adc_idx >= buffSize)
		{
			adc_idx = 0;
			uart4_adc.tx_ready = 1;
		}
	}
}

/* USER CODE END 4 */

void Error_Handler(void)
{
  __disable_irq();
  while (1)
  {
  }
}
